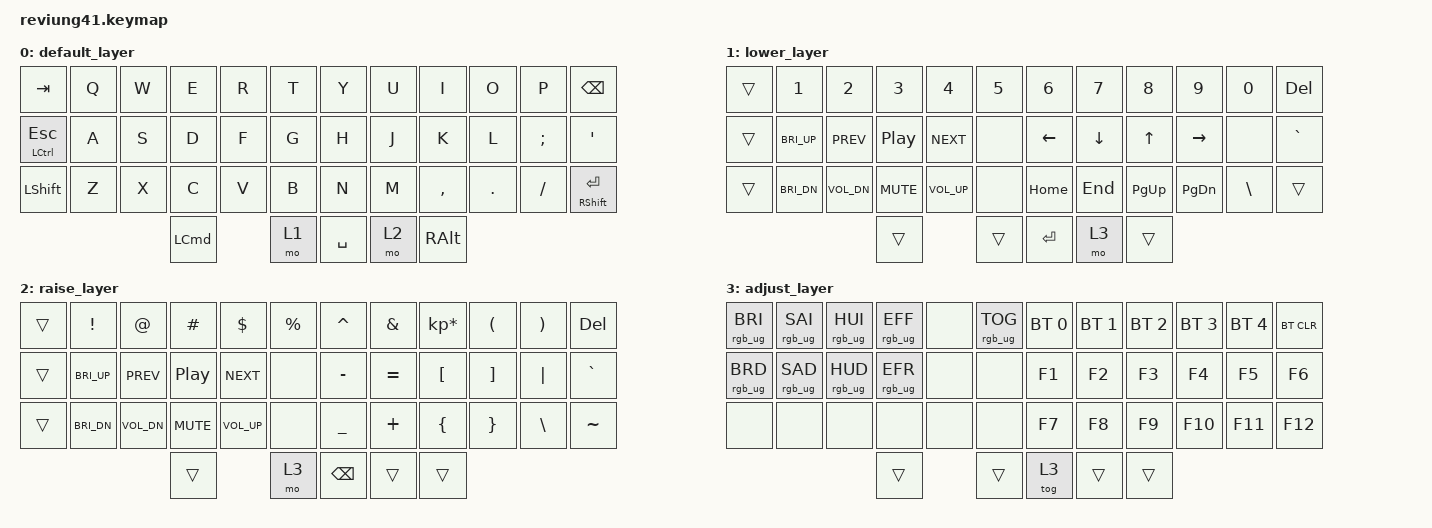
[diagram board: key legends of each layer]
/*
 * Copyright (c) 2020 The ZMK Contributors
 *
 * SPDX-License-Identifier: MIT
 */

#include <behaviors.dtsi>
#include <dt-bindings/zmk/keys.h>
#include <dt-bindings/zmk/bt.h>
#include <dt-bindings/zmk/rgb.h>

/ {
        keymap {
                compatible = "zmk,keymap";

                default_layer {
                        bindings = <
   &kp TAB       &kp Q &kp W &kp E &kp R &kp T   &kp Y &kp U  &kp I     &kp O   &kp P    &kp BSPC
   &mt LCTRL ESC &kp A &kp S &kp D &kp F &kp G   &kp H &kp J  &kp K     &kp L   &kp SEMI &kp SQT
   &kp LSHFT     &kp Z &kp X &kp C &kp V &kp B   &kp N &kp M  &kp COMMA &kp DOT &kp FSLH &mt RSHFT RET
                             &kp LCMD  &mo 1 &kp SPACE &mo 2  &kp RALT
                        >;
                };

                lower_layer {
                        bindings = <
   &trans &kp N1    &kp N2    &kp N3    &kp N4    &kp N5        &kp N6    &kp N7    &kp N8    &kp N9    &kp N0    &kp DEL
   &trans &kp C_BRI_UP  &kp C_PREV     &kp C_PP    &kp C_NEXT    &none        &kp LEFT  &kp DOWN &kp UP    &kp RIGHT &none    &kp GRAVE
   &trans &kp C_BRI_DN  &kp C_VOL_DN   &kp K_MUTE  &kp C_VOL_UP  &none        &kp HOME  &kp END  &kp PG_UP &kp PG_DN &kp BSLH &trans
                                &trans      &trans       &kp RET        &mo 3       &trans
                        >;
                };

                raise_layer {
                        bindings = <
   &trans &kp EXCL      &kp AT         &kp HASH    &kp DLLR      &kp PRCNT           &kp CARET  &kp AMPS   &kp KP_ASTERISK  &kp LPAR    &kp RPAR  &kp DEL
   &trans &kp C_BRI_UP  &kp C_PREV     &kp C_PP    &kp C_NEXT    &none               &kp MINUS  &kp EQUAL  &kp LBKT         &kp RBKT    &kp PIPE  &kp GRAVE
   &trans &kp C_BRI_DN  &kp C_VOL_DN   &kp K_MUTE  &kp C_VOL_UP  &none               &kp UNDER  &kp PLUS   &kp LBRC         &kp RBRC    &kp BSLH  &kp TILDE
                                                 &trans      &mo 3       &kp BSPC        &trans      &trans
                        >;
                };

                adjust_layer {
                        bindings = <
   &rgb_ug RGB_BRI &rgb_ug RGB_SAI &rgb_ug RGB_HUI &rgb_ug RGB_EFF &none &rgb_ug RGB_TOG     &bt BT_SEL 0  &bt BT_SEL 1   &bt BT_SEL 2    &bt BT_SEL 3   &bt BT_SEL 4   &bt BT_CLR
   &rgb_ug RGB_BRD &rgb_ug RGB_SAD &rgb_ug RGB_HUD &rgb_ug RGB_EFR &none &none               &kp F1        &kp F2         &kp F3          &kp F4         &kp F5         &kp F6
   &none           &none           &none           &none           &none &none               &kp F7        &kp F8         &kp F9          &kp F10        &kp F11        &kp F12
                                                        &trans      &trans       &tog 3        &trans      &trans
                        >;
                };
        };
};
